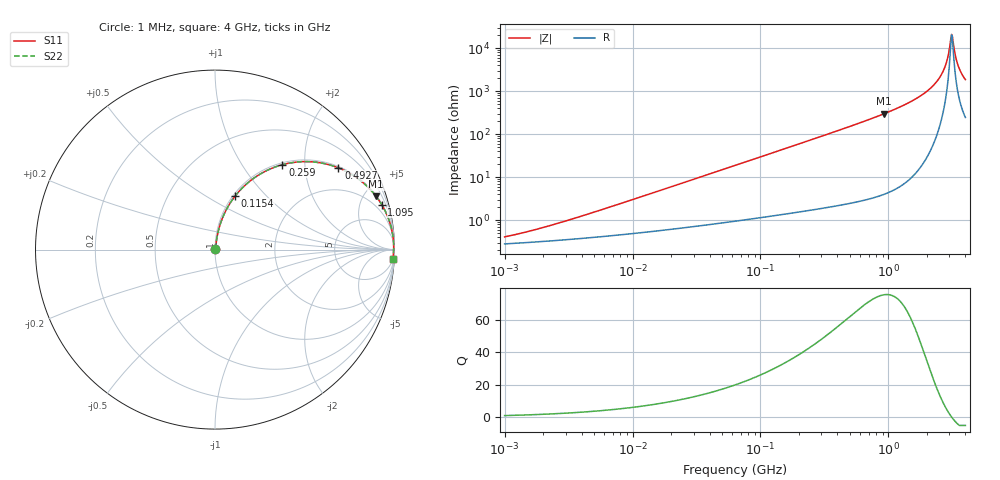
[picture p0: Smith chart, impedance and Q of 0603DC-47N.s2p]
# MHz  S  MA  R  50
!Freq  MagS11  AngS11  MagS21  AngS21  MagS12  AngS12  MagS22  AngS22
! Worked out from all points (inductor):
!   801 points, 1 MHz to 4 GHz, reference 50 ohm
!   read as one part in series: L = 47 nH near 3.731 MHz
!   highest Q = 75.4 at 927.3 MHz (marker M1), where L = 51.5 nH
!   self-resonance near 3.119 GHz
!   S11 on the Smith chart (normalised r, x): 1 MHz: 1.01, +0.01; 115.4 MHz: 1.02, +0.68; 259 MHz: 1.03, +1.54; 492.7 MHz: 1.05, +2.98; 1.095 GHz: 1.10, +7.36; 4 GHz: 6, -37
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1  0.004044 46.6  0.9972 -0.2  0.9972 -0.2  0.004044 46.6
4.011853  0.01237 71.8  0.9962 -0.7  0.9962 -0.7  0.01237 71.8
15.92896  0.04706 80.5  0.9933 -2.7  0.9933 -2.7  0.04706 80.5
63.90467  0.1841 76.5  0.9738 -10.6  0.9738 -10.6  0.1841 76.5
115.393  0.3197 69.3  0.9363 -18.6  0.9363 -18.6  0.3197 69.3
253.7319  0.5958 52.1  0.7897 -36.6  0.7897 -36.6  0.5958 52.1
259.048  0.6038 51.6  0.7837 -37.1  0.7837 -37.1  0.6038 51.6
492.6515  0.8245 33.5  0.5526 -55.5  0.5526 -55.5  0.8245 33.5
927.2502  0.945 18.3  0.3148 -70.9  0.3148 -70.9  0.945 18.3
1007.436  0.954 16.7  0.2874 -72.5  0.2874 -72.5  0.954 16.7
1094.556  0.9618 15.1  0.2612 -74.1  0.2612 -74.1  0.9618 15.1
1727.235  0.9881 7.7  0.1348 -81.1  0.1348 -81.1  0.9881 7.7
2333.061  0.9947 3.7  0.06431 -83.4  0.06431 -83.4  0.9947 3.7
2561.234  0.9955 2.5  0.04373 -82.8  0.04373 -82.8  0.9955 2.5
2754.021  0.9957 1.6  0.02804 -80.4  0.02804 -80.4  0.9957 1.6
2870.632  0.9957 1.1  0.01924 -76.6  0.01924 -76.6  0.9957 1.1
3054.872  0.9955 0.3  0.007023 -49.9  0.007023 -49.9  0.9955 0.3
3118.877  0.9954 0.1  0.004734 -11.4  0.004734 -11.4  0.9954 0.1
3217.406  0.9951 -0.3  0.007531 49.4  0.007531 49.4  0.9951 -0.3
3388.588  0.9946 -1.0  0.01769 71.6  0.01769 71.6  0.9946 -1.0
3568.878  0.9938 -1.6  0.02864 76.8  0.02864 76.8  0.9938 -1.6
4000  0.9916 -3.0  0.05327 79.4  0.05327 79.4  0.9916 -3.0
